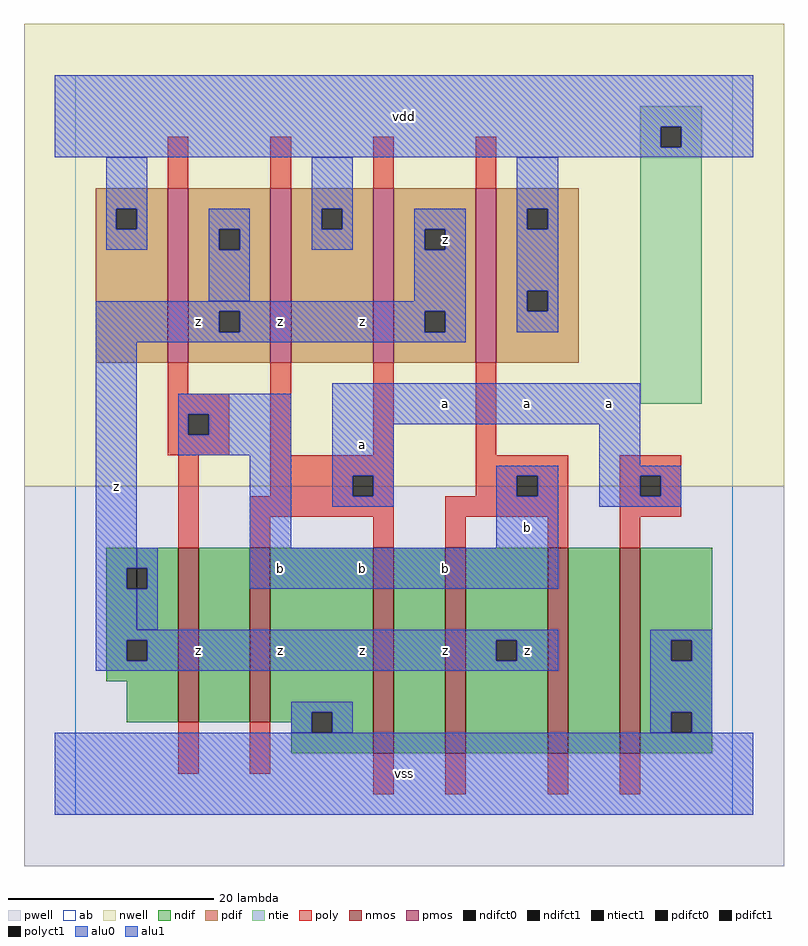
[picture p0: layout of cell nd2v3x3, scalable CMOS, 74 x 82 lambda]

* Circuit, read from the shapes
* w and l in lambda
.subckt nd2v3x3 a b vdd vss z
M1 n1 b z VSUBS nfet w=17 l=2
M2 vss a n1 VSUBS nfet w=17 l=2
M3 n2 a vss VSUBS nfet w=20 l=2
M4 z b n2 VSUBS nfet w=20 l=2
M5 n3 b z VSUBS nfet w=20 l=2
M6 vss a n3 VSUBS nfet w=20 l=2
M7 z b vdd vdd pfet w=17 l=2 m=2
M8 vdd a z vdd pfet w=17 l=2 m=2
.ends

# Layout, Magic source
magic
tech scmos
<< ab >>
rect 0 0 64 72
<< nwell >>
rect -5 32 69 77
<< pwell >>
rect -5 -5 69 32
<< poly >>
rect 9 61 11 66
rect 19 61 21 66
rect 29 61 31 66
rect 39 61 41 66
rect 9 41 11 44
rect 9 39 15 41
rect 9 37 11 39
rect 13 37 15 39
rect 9 35 15 37
rect 19 35 21 44
rect 29 35 31 44
rect 10 26 12 35
rect 19 33 31 35
rect 19 31 27 33
rect 29 31 31 33
rect 39 35 41 44
rect 39 33 48 35
rect 39 31 43 33
rect 45 31 48 33
rect 17 29 31 31
rect 17 26 19 29
rect 29 26 31 29
rect 36 29 48 31
rect 36 26 38 29
rect 46 26 48 29
rect 53 33 59 35
rect 53 31 55 33
rect 57 31 59 33
rect 53 29 59 31
rect 53 26 55 29
rect 10 4 12 9
rect 17 4 19 9
rect 29 2 31 6
rect 36 2 38 6
rect 46 2 48 6
rect 53 2 55 6
<< ndif >>
rect 3 24 10 26
rect 3 22 5 24
rect 7 22 10 24
rect 3 17 10 22
rect 3 15 5 17
rect 7 15 10 17
rect 3 13 10 15
rect 5 9 10 13
rect 12 9 17 26
rect 19 10 29 26
rect 19 9 23 10
rect 21 8 23 9
rect 25 8 29 10
rect 21 6 29 8
rect 31 6 36 26
rect 38 17 46 26
rect 38 15 41 17
rect 43 15 46 17
rect 38 6 46 15
rect 48 6 53 26
rect 55 17 62 26
rect 55 15 58 17
rect 60 15 62 17
rect 55 10 62 15
rect 55 8 58 10
rect 60 8 62 10
rect 55 6 62 8
<< pdif >>
rect 2 59 9 61
rect 2 57 4 59
rect 6 57 9 59
rect 2 44 9 57
rect 11 57 19 61
rect 11 55 14 57
rect 16 55 19 57
rect 11 49 19 55
rect 11 47 14 49
rect 16 47 19 49
rect 11 44 19 47
rect 21 59 29 61
rect 21 57 24 59
rect 26 57 29 59
rect 21 44 29 57
rect 31 57 39 61
rect 31 55 34 57
rect 36 55 39 57
rect 31 49 39 55
rect 31 47 34 49
rect 36 47 39 49
rect 31 44 39 47
rect 41 59 49 61
rect 41 57 44 59
rect 46 57 49 59
rect 41 51 49 57
rect 41 49 44 51
rect 46 49 49 51
rect 41 44 49 49
<< alu1 >>
rect -2 67 66 72
rect -2 65 57 67
rect 59 65 66 67
rect -2 64 66 65
rect 33 57 38 59
rect 33 55 34 57
rect 36 55 38 57
rect 33 50 38 55
rect 2 49 38 50
rect 2 47 14 49
rect 16 47 34 49
rect 36 47 38 49
rect 2 46 38 47
rect 2 24 6 46
rect 10 39 21 41
rect 10 37 11 39
rect 13 37 21 39
rect 10 35 21 37
rect 17 26 21 35
rect 25 38 55 42
rect 25 33 31 38
rect 51 34 55 38
rect 25 31 27 33
rect 29 31 31 33
rect 25 30 31 31
rect 41 33 47 34
rect 41 31 43 33
rect 45 31 47 33
rect 41 26 47 31
rect 51 33 59 34
rect 51 31 55 33
rect 57 31 59 33
rect 51 30 59 31
rect 2 22 5 24
rect 17 22 47 26
rect 2 18 6 22
rect 2 17 47 18
rect 2 15 5 17
rect 7 15 41 17
rect 43 15 47 17
rect 2 14 47 15
rect -2 0 66 8
<< ntie >>
rect 55 67 61 69
rect 55 65 57 67
rect 59 65 61 67
rect 55 40 61 65
<< nmos >>
rect 10 9 12 26
rect 17 9 19 26
rect 29 6 31 26
rect 36 6 38 26
rect 46 6 48 26
rect 53 6 55 26
<< pmos >>
rect 9 44 11 61
rect 19 44 21 61
rect 29 44 31 61
rect 39 44 41 61
<< polyct1 >>
rect 11 37 13 39
rect 27 31 29 33
rect 43 31 45 33
rect 55 31 57 33
<< ndifct0 >>
rect 6 22 7 24
rect 23 8 25 10
rect 58 15 60 17
rect 58 8 60 10
<< ndifct1 >>
rect 5 22 6 24
rect 5 15 7 17
rect 41 15 43 17
<< ntiect1 >>
rect 57 65 59 67
<< pdifct0 >>
rect 4 57 6 59
rect 14 55 16 57
rect 24 57 26 59
rect 44 57 46 59
rect 44 49 46 51
<< pdifct1 >>
rect 14 47 16 49
rect 34 55 36 57
rect 34 47 36 49
<< alu0 >>
rect 3 59 7 64
rect 23 59 27 64
rect 43 59 47 64
rect 3 57 4 59
rect 6 57 7 59
rect 3 55 7 57
rect 13 57 17 59
rect 13 55 14 57
rect 16 55 17 57
rect 23 57 24 59
rect 26 57 27 59
rect 23 55 27 57
rect 13 50 17 55
rect 43 57 44 59
rect 46 57 47 59
rect 43 51 47 57
rect 43 49 44 51
rect 46 49 47 51
rect 43 47 47 49
rect 6 24 8 26
rect 7 22 8 24
rect 6 18 8 22
rect 56 17 62 18
rect 56 15 58 17
rect 60 15 62 17
rect 21 10 27 11
rect 21 8 23 10
rect 25 8 27 10
rect 56 10 62 15
rect 56 8 58 10
rect 60 8 62 10
<< labels >>
rlabel alu1 12 16 12 16 6 z
rlabel alu1 4 32 4 32 6 z
rlabel alu1 12 48 12 48 6 z
rlabel alu1 20 16 20 16 6 z
rlabel alu1 28 16 28 16 6 z
rlabel alu1 28 24 28 24 6 b
rlabel alu1 20 24 20 24 6 b
rlabel alu1 28 36 28 36 6 a
rlabel alu1 28 48 28 48 6 z
rlabel alu1 20 48 20 48 6 z
rlabel alu1 32 4 32 4 6 vss
rlabel alu1 44 16 44 16 6 z
rlabel alu1 36 16 36 16 6 z
rlabel alu1 36 24 36 24 6 b
rlabel alu1 44 28 44 28 6 b
rlabel alu1 44 40 44 40 6 a
rlabel alu1 36 40 36 40 6 a
rlabel alu1 36 56 36 56 6 z
rlabel alu1 32 68 32 68 6 vdd
rlabel alu1 52 40 52 40 6 a
<< end >>
